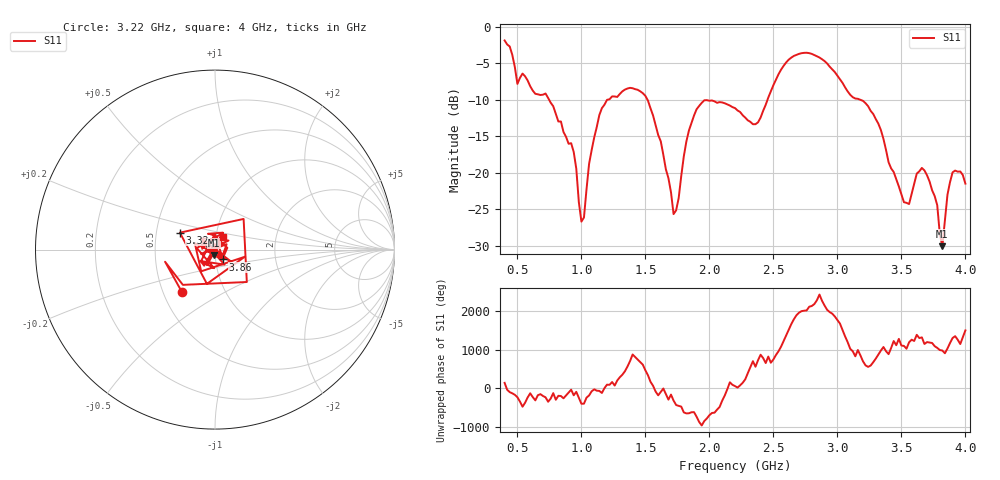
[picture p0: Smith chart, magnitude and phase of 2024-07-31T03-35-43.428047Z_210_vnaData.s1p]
!Created with skrf (http://scikit-rf.org).
# Hz S RI R 50.0
!freq ReS11 ImS11
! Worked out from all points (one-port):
!   181 points, 400 MHz to 4 GHz, reference 50 ohm
!   lowest |S11| = -30.0 dB at 3.82 GHz (marker M1), VSWR 1.07, Z = 49.2 - j3.01 ohm
!   |S11| at or under -10 dB: 748 MHz to 1.2 GHz (451.9 MHz wide, 46.4 % of centre); 1.517 GHz to 2.454 GHz (936.9 MHz wide, 47.2 % of centre); 3.181 GHz to end of sweep
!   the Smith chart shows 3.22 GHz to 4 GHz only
!   S11 on the Smith chart (normalised r, x): 3.22 GHz: 0.62, -0.32; 3.32 GHz: 0.66, +0.13; 3.86 GHz: 1.09, -0.12; 4 GHz: 1.09, +0.15
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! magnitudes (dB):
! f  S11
! 400 MHz  -1.9
! 500 MHz  -7.8
! 720 MHz  -9.1
! 860 MHz  -14.4
! 940 MHz  -17.1
! 1 GHz  -26.7
! 1.14 GHz  -12.1
! 1.3 GHz  -9.2
! 1.5 GHz  -9.5
! 1.62 GHz  -15.7
! 1.72 GHz  -25.6
! 1.76 GHz  -23.5
! 1.82 GHz  -15.7
! 1.9 GHz  -11.3
! 2.2 GHz  -11.1
! 2.38 GHz  -13.1
! 2.66 GHz  -4.0
! 2.88 GHz  -4.4
! 3.1 GHz  -9.3
! 3.22 GHz  -10.5
! 3.32 GHz  -13.3
! 3.56 GHz  -24.3
! 3.68 GHz  -19.7
! 3.78 GHz  -24.4
! 3.82 GHz  -30.0
! 3.86 GHz  -23.0
! 3.92 GHz  -19.7
! 4 GHz  -21.5
